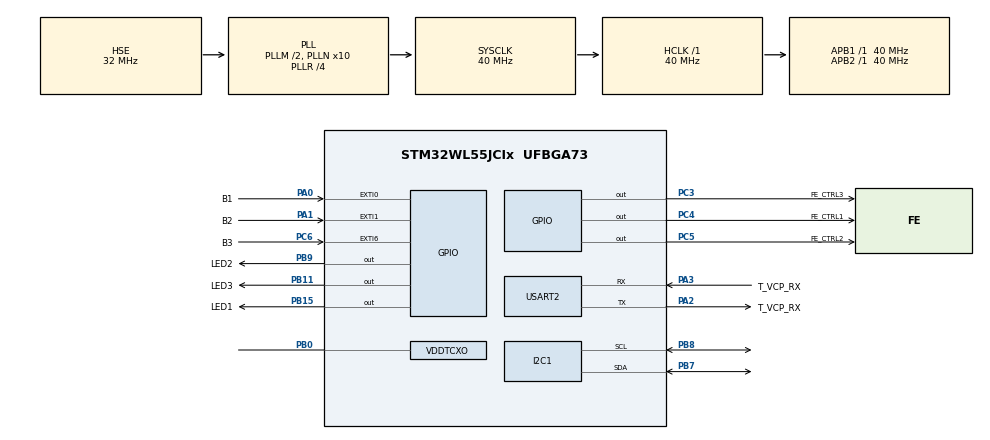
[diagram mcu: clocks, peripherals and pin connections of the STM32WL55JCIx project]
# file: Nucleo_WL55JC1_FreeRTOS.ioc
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FREERTOS.Tasks01=defaultTask,24,128,StartDefaultTask,Default,NULL,Dynamic,NULL,NULL
FREERTOS.configMAX_TASK_NAME_LEN=32
FREERTOS.configTOTAL_HEAP_SIZE=16384
FREERTOS.configUSE_PREEMPTION=0
I2C1.Timing=0x00909BEB
Mcu.Family=STM32WL
Mcu.Name=STM32WL55JCIx
Mcu.Package=UFBGA73
NVIC.PriorityGroup=NVIC_PRIORITYGROUP_4
NVIC.TIM1_UP_IRQn=true\:15\:0\:false\:false\:true\:false\:false\:true\:true
NVIC.TimeBase=TIM1_UP_IRQn
NVIC.TimeBaseIP=TIM1
NVIC.USART2_IRQn=true\:5\:0\:false\:false\:true\:true\:true\:true\:true
OSC_IN.Mode=HSE-TCXO
OSC_IN.Signal=RCC_OSC_IN
PA0.GPIO_Label=B1
PA0.GPIO_ModeDefaultEXTI=GPIO_MODE_IT_FALLING
PA0.GPIO_PuPd=GPIO_PULLUP
PA0.Signal=GPXTI0
PA1.GPIO_Label=B2
PA1.GPIO_ModeDefaultEXTI=GPIO_MODE_IT_FALLING
PA1.GPIO_PuPd=GPIO_PULLUP
PA1.Signal=GPXTI1
PA13.Mode=Serial_Wire
PA13.Signal=DEBUG_JTMS-SWDIO
PA14.Mode=Serial_Wire
PA14.Signal=DEBUG_JTCK-SWCLK
PA2.GPIO_Label=T_VCP_RX
PA2.Mode=Asynchronous
PA2.Signal=USART2_TX
PA3.GPIO_Label=T_VCP_RX
PA3.Mode=Asynchronous
PA3.Signal=USART2_RX
PB0-VDD_TCXO.Mode=HSE-TCXO
PB0-VDD_TCXO.Signal=VDDTCXO
PB11.GPIO_Label=LED3
PB11.GPIO_Speed=GPIO_SPEED_FREQ_HIGH
PB11.Signal=GPIO_Output
PB15.GPIO_Label=LED1
PB15.GPIO_Speed=GPIO_SPEED_FREQ_HIGH
PB15.Signal=GPIO_Output
PB7.Mode=I2C
PB7.Signal=I2C1_SDA
PB8.Mode=I2C
PB8.Signal=I2C1_SCL
PB9.GPIO_FM9=__NULL
PB9.GPIO_Label=LED2
PB9.GPIO_Speed=GPIO_SPEED_FREQ_HIGH
PB9.Signal=GPIO_Output
PC14-OSC32_IN.Mode=LSE-External-Oscillator
PC14-OSC32_IN.Signal=RCC_OSC32_IN
PC15-OSC32_OUT.Mode=LSE-External-Oscillator
PC15-OSC32_OUT.Signal=RCC_OSC32_OUT
PC3.GPIO_Label=FE_CTRL3
PC3.GPIO_Speed=GPIO_SPEED_FREQ_VERY_HIGH
PC3.Signal=GPIO_Output
PC4.GPIO_Label=FE_CTRL1
PC4.GPIO_Speed=GPIO_SPEED_FREQ_VERY_HIGH
PC4.Signal=GPIO_Output
PC5.GPIO_Label=FE_CTRL2
PC5.GPIO_Speed=GPIO_SPEED_FREQ_VERY_HIGH
PC5.Signal=GPIO_Output
PC6.GPIO_Label=B3
PC6.GPIO_ModeDefaultEXTI=GPIO_MODE_IT_FALLING
PC6.GPIO_PuPd=GPIO_PULLUP
PC6.Signal=GPXTI6
ProjectManager.HeapSize=0x200
ProjectManager.StackSize=0x400
ProjectManager.TargetToolchain=STM32CubeIDE
RCC.AHBFreq_Value=40000000
RCC.APB1Freq_Value=40000000
RCC.APB1TimFreq_Value=40000000
RCC.APB2Freq_Value=40000000
RCC.APB2TimFreq_Value=40000000
RCC.APB3Freq_Value=40000000
RCC.CortexFreq_Value=40000000
RCC.HCLKFreq_Value=40000000
RCC.HSE_VALUE=32000000
RCC.HSI_VALUE=16000000
RCC.LSE_VALUE=32768
RCC.PLLM=RCC_PLLM_DIV2
RCC.PLLN=10
RCC.PLLR=RCC_PLLR_DIV4
RCC.PLLSourceVirtual=RCC_PLLSOURCE_HSE
RCC.SYSCLKFreq_VALUE=40000000
RCC.SYSCLKSource=RCC_SYSCLKSOURCE_PLLCLK
RCC.VCOOutputFreq_Value=160000000
USART2.VirtualMode-Asynchronous=VM_ASYNC
VP_FREERTOS_VS_CMSIS_V2.Mode=CMSIS_V2
VP_SYS_VS_tim1.Mode=TIM1
board=NUCLEO-WL55JC1

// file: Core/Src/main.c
/* USER CODE BEGIN Header */
/**
  ******************************************************************************
  * @file           : main.c
  * @brief          : Main program body
  ******************************************************************************
  * @attention
  *
  * Copyright (c) 2025 STMicroelectronics.
  * All rights reserved.
  *
  * This software is licensed under terms that can be found in the LICENSE file
  * in the root directory of this software component.
  * If no LICENSE file comes with this software, it is provided AS-IS.
  *
  ******************************************************************************
  */
/* USER CODE END Header */
#include "main.h"
#include "cmsis_os.h"
#include "i2c.h"
#include "usart.h"
#include "gpio.h"

void SystemClock_Config(void);
void MX_FREERTOS_Init(void);

int main(void)
{

  /* MCU Configuration--------------------------------------------------------*/

  /* Reset of all peripherals, Initializes the Flash interface and the Systick. */
  HAL_Init();

  /* Configure the system clock */
  SystemClock_Config();

  /* Initialize all configured peripherals */
  MX_GPIO_Init();
  MX_USART2_UART_Init();
  MX_I2C1_Init();

  /* Init scheduler */
  osKernelInitialize();  /* Call init function for freertos objects (in freertos.c) */
  MX_FREERTOS_Init();

  /* Start scheduler */
  osKernelStart();

  /* We should never get here as control is now taken by the scheduler */
  /* Infinite loop */
  while (1)
  {

  }
}

void SystemClock_Config(void)
{
  RCC_OscInitTypeDef RCC_OscInitStruct = {0};
  RCC_ClkInitTypeDef RCC_ClkInitStruct = {0};

  /** Configure the main internal regulator output voltage
  */
  __HAL_PWR_VOLTAGESCALING_CONFIG(PWR_REGULATOR_VOLTAGE_SCALE1);

  /** Initializes the CPU, AHB and APB buses clocks
  */
  RCC_OscInitStruct.OscillatorType = RCC_OSCILLATORTYPE_HSE;
  RCC_OscInitStruct.HSEState = RCC_HSE_BYPASS_PWR;
  RCC_OscInitStruct.HSEDiv = RCC_HSE_DIV1;
  RCC_OscInitStruct.PLL.PLLState = RCC_PLL_ON;
  RCC_OscInitStruct.PLL.PLLSource = RCC_PLLSOURCE_HSE;
  RCC_OscInitStruct.PLL.PLLM = RCC_PLLM_DIV2;
  RCC_OscInitStruct.PLL.PLLN = 10;
  RCC_OscInitStruct.PLL.PLLP = RCC_PLLP_DIV2;
  RCC_OscInitStruct.PLL.PLLR = RCC_PLLR_DIV4;
  RCC_OscInitStruct.PLL.PLLQ = RCC_PLLQ_DIV2;
  if (HAL_RCC_OscConfig(&RCC_OscInitStruct) != HAL_OK)
  {
    Error_Handler();
  }

  /** Configure the SYSCLKSource, HCLK, PCLK1 and PCLK2 clocks dividers
  */
  RCC_ClkInitStruct.ClockType = RCC_CLOCKTYPE_HCLK3|RCC_CLOCKTYPE_HCLK
                              |RCC_CLOCKTYPE_SYSCLK|RCC_CLOCKTYPE_PCLK1
                              |RCC_CLOCKTYPE_PCLK2;
  RCC_ClkInitStruct.SYSCLKSource = RCC_SYSCLKSOURCE_PLLCLK;
  RCC_ClkInitStruct.AHBCLKDivider = RCC_SYSCLK_DIV1;
  RCC_ClkInitStruct.APB1CLKDivider = RCC_HCLK_DIV1;
  RCC_ClkInitStruct.APB2CLKDivider = RCC_HCLK_DIV1;
  RCC_ClkInitStruct.AHBCLK3Divider = RCC_SYSCLK_DIV1;

  if (HAL_RCC_ClockConfig(&RCC_ClkInitStruct, FLASH_LATENCY_2) != HAL_OK)
  {
    Error_Handler();
  }
}

void HAL_TIM_PeriodElapsedCallback(TIM_HandleTypeDef *htim)
{
  if (htim->Instance == TIM1) {
    HAL_IncTick();
  }
}

void Error_Handler(void)
{
  __disable_irq();
  while (1)
  {
  }
}

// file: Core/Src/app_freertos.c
/* USER CODE BEGIN Header */
/**
  ******************************************************************************
  * File Name          : app_freertos.c
  * Description        : Code for freertos applications
  ******************************************************************************
  * @attention
  *
  * Copyright (c) 2025 STMicroelectronics.
  * All rights reserved.
  *
  * This software is licensed under terms that can be found in the LICENSE file
  * in the root directory of this software component.
  * If no LICENSE file comes with this software, it is provided AS-IS.
  *
  ******************************************************************************
  */
/* USER CODE END Header */

#include "FreeRTOS.h"
#include "task.h"
#include "main.h"
#include "cmsis_os.h"

/* USER CODE BEGIN Includes */
#include "queue.h"
#include "communicationTask.h" //To use notif bit private define
#include "HighPrioTask.h" //To be initialized and started in here
#include "app_queues.h"
#include <stdarg.h>
#include <stdio.h>
//#include "LowPrioTask.h"
/* USER CODE END Includes */

/* USER CODE BEGIN Variables */
char outputBuffer[256]; //For output message
/* USER CODE END Variables */
/* Definitions for defaultTask */
osThreadId_t defaultTaskHandle;
const osThreadAttr_t defaultTask_attributes = {
  .name = "defaultTask",
  .priority = (osPriority_t) osPriorityNormal,
  .stack_size = 128 * 4
};

/* USER CODE BEGIN FunctionPrototypes */
void SendOutputMessage(const char* format, ...);
/* USER CODE END FunctionPrototypes */

void StartDefaultTask(void *argument);

void MX_FREERTOS_Init(void); /* (MISRA C 2004 rule 8.1) */

void MX_FREERTOS_Init(void) {

  /* USER CODE BEGIN RTOS_QUEUES */
	highPrioTaskReturnQueue = osMessageQueueNew(1, sizeof(uint32_t), &highPrioTaskReturnQueue_attributes);
  /* USER CODE END RTOS_QUEUES */

  /* Create the thread(s) */
  /* creation of defaultTask */
  defaultTaskHandle = osThreadNew(StartDefaultTask, NULL, &defaultTask_attributes);

  /* USER CODE BEGIN RTOS_THREADS */
  /* add threads, ... */
	highPrio_TaskHandle = osThreadNew(HighPrioTask_Begin, NULL, &highPrio_Task_attributes);
  /* USER CODE END RTOS_THREADS */

}

void StartDefaultTask(void *argument)
{
  /* USER CODE BEGIN StartDefaultTask */
	uint32_t notificationBits = 0;
	char receivedChar = '\0';
	uint32_t sentNb = 0; //Sent to user directly after receiving
	uint32_t sentChar; //Char transmitted via HighPrioTask and send to user

	//Start listening for one byte RX on serial port
	HAL_UART_Receive_IT(&huart2, (uint8_t*)&receivedChar, 1);
  /* Infinite loop */
  for(;;)
  {
	  //Wait for any notification. This is the communication task, so it will be notified (by interrupt) when data is received.
	  xTaskNotifyWait(0x00, 	// ulBitsToClearOnEntry
			  0xFFFFFFFF,			// ulBitsToClearOnExit
			  &notificationBits,	// *pulNotificationValue
			  portMAX_DELAY);		// xTicksToWait

	  if (notificationBits & COMMUNICATIONTASK_MASK_USART_AVAILABLE)
	  {
		  //A new character arrived and has been stored in receivedChar
		  //Send to end user the next char over USART
		  SendOutputMessage("Sent nb from commTask: %u\r\n", sentNb);
		  sentNb++;
		  HAL_UART_Abort_IT(&huart2); //Due to a bug in Cube, we have to abort IT to be able to receive properly after 1st receive (EIE flag not set, I think - tbd)
		  HAL_UART_Receive_IT(&huart2, (uint8_t*)&receivedChar, 1);
		  xTaskNotify(highPrio_TaskHandle, HIGHPRIOTASK_MASK_REQUEST, eSetBits);
//		  taskYIELD(); //Probably not mandatory, as we'llenter NotifyWait immediately afterwards
	  }
	  if (notificationBits & COMMUNICATIONTASK_MASK_DATAFROMHIGH_AVAILABLE)
	  {
		  //We received data from HighPrioTask, we now have to send it to user via USART
		  xQueueReceive(highPrioTaskReturnQueue, &sentChar, 0);
		  SendOutputMessage("Received char from HighPrioTask: %c\r\n", sentChar);
	  }
  }
  /* USER CODE END StartDefaultTask */
}

/* USER CODE BEGIN Application */
void SendOutputMessage(const char* format, ...)
{
	va_list args;
	va_start(args, format);
	int strSize = vsnprintf(outputBuffer, 256, format, args); //Size does not include \0 char; snprintf is used to protect memory overflow
	HAL_UART_Transmit(&huart2, (uint8_t*)outputBuffer, strSize, 100);
}
/* USER CODE END Application */
